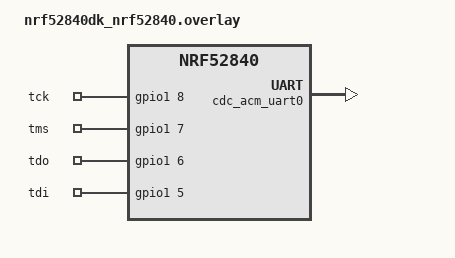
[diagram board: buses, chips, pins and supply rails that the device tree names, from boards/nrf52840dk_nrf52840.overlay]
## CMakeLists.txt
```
cmake_minimum_required(VERSION 3.20.0)

find_package(Zephyr REQUIRED HINTS $ENV{ZEPHYR_BASE})
project(zephyr_rjtag)

add_subdirectory("${CMAKE_CURRENT_LIST_DIR}/../../librjcore" librjcore)

target_sources(app
    PRIVATE
    src/led.cpp
    src/led.h
    src/main.cpp
    src/platform_impl.c
    src/platform_impl.h
    src/platform_stm32.h
    src/platform_stm32_gpio.cpp
    src/platform_stm32_timer_spi.cpp
    src/serial_queue.c
    src/serial_queue.h
)

target_link_libraries(app
    PUBLIC
    librjcore
)

#target_compile_definitions(librjcore
#    PUBLIC
#    RJCORE_UART_IDLE_TIMEOUT=10000
#)
```

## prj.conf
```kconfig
# TODO: Add configuration options
CONFIG_USB_DEVICE_STACK=y
CONFIG_USB_DEVICE_PRODUCT="Zephyr CDC ACM sample"
CONFIG_USB_DEVICE_PID=0x0001

CONFIG_EVENTS=y

CONFIG_MAIN_STACK_SIZE=8192

CONFIG_LOG=y
CONFIG_RTT_CONSOLE=y
CONFIG_USE_SEGGER_RTT=y
CONFIG_LOG_BACKEND_RTT=y
CONFIG_LOG_BACKEND_UART=n

CONFIG_LOG_BUFFER_SIZE=16384
CONFIG_SEGGER_RTT_BUFFER_SIZE_UP=16384

# Use C++20 - easier than tons of macros when dealing with devicetree
CONFIG_CPP=y
CONFIG_STD_CPP20=y
CONFIG_CPP_MAIN=y

# Always useful to assert when developing
CONFIG_ASSERT=y

CONFIG_PWM=y
# Use SPI with the poll/async mode, so that it can be performed in the
# background.
CONFIG_SPI=y
CONFIG_SPI_SLAVE=y
CONFIG_SPI_ASYNC=y
CONFIG_POLL=y
```

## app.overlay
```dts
&zephyr_udc0 {
    cdc_acm_uart0 {
        compatible = "zephyr,cdc-acm-uart";
    };
};
```

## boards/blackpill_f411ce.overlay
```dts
/*
/ {
    rjtag {
        compatible = "gpio-keys";

        tck: tck  {
            gpios = <&gpiob 13 GPIO_ACTIVE_HIGH>;
        };

        tms: tms  {
            gpios = <&gpiob 4 GPIO_ACTIVE_HIGH>;
        };

        tdo: tdo  {
            gpios = <&gpiob 15 (GPIO_ACTIVE_HIGH | GPIO_PULL_DOWN)>;
        };

        tdi: tdi  {
            gpios = <&gpiob 14 GPIO_ACTIVE_HIGH>;
        };
    };
};
 */

&zephyr_udc0 {
    cdc_acm_uart0 {
        compatible = "zephyr,cdc-acm-uart";
    };
};

// Used for the hardware driven JTAG signals

&timers1 {
    status = "okay";

    st,countermode = <0>; // Counter mode up
    st,prescaler = <11>; // Decent speed Jtag (~2MHz)
    // st,prescaler = <47999>; // Very low speed, useful for debugging

    pwm1: pwm {
        status = "okay";
        pinctrl-0 = <&tim1_ch1n_pb13 &tim1_ch2n_pb0 &tim1_ch3n_pb1>;
        pinctrl-names = "default";
    };
};

/ {
    rjtaghw {
        compatible = "pwm-leds";
        status = "okay";

        // If using an complementary channel (e.g. ch1n, ch2n, ch3n, ch4n...)
        // then you must add the STM32_PWM_COMPLEMENTARY flag
        // SCK set up for CPOL=0, CPHA=1 (i.e. clock idle low, change on rising
        // edge, sample on falling edge)
        rjtagsck: rjtagsck {
            pwms = <&pwm1 2 1000 (PWM_POLARITY_INVERTED | STM32_PWM_COMPLEMENTARY)>,
                   <&pwm1 3 1000 (PWM_POLARITY_INVERTED | STM32_PWM_COMPLEMENTARY)>;
        };

        // TCK set up for CPOL=1, CPHA=1 (i.e. clock idle high, change on falling
        // edge, sample on rising edge)
        rjtagtck: rjtagtck {
            pwms = <&pwm1 1 1000 (PWM_POLARITY_NORMAL | STM32_PWM_COMPLEMENTARY)>;
        };
    };

    rjtagss {
        compatible = "gpio-keys";

        rjtagnss: rjtagnss  {
            gpios = <&gpioa 3 GPIO_ACTIVE_LOW>,
                    <&gpiob 8 GPIO_ACTIVE_LOW>;
        };
    };

    aliases {
        rjtagtimer = &timers1;
        rjtagtms = &spi1;
        rjtagtdio = &spi2;
    };
};

&spi1 {
    pinctrl-0 = <&spi1_sck_pa5 &spi1_nss_pa4
    &spi1_miso_pb4 &spi1_mosi_pa7>;
    pinctrl-names = "default";
    status = "okay";
    dmas = <&dma2 5 3 (STM32_DMA_PERIPH_TX | STM32_DMA_PRIORITY_HIGH) 0x03>,
           <&dma2 2 3 (STM32_DMA_PERIPH_RX | STM32_DMA_PRIORITY_HIGH) 0x03>;
    dma-names = "tx", "rx";
};

&spi2 {
    pinctrl-0 = <&spi2_sck_pb10 &spi2_nss_pb9
    &spi2_miso_pb14 &spi2_mosi_pb15>;
    pinctrl-names = "default";
    status = "okay";
    dmas = <&dma1 4 0 (STM32_DMA_PERIPH_TX | STM32_DMA_PRIORITY_HIGH) 0x03>,
           <&dma1 3 0 (STM32_DMA_PERIPH_RX | STM32_DMA_PRIORITY_HIGH) 0x03>;
    dma-names = "tx", "rx";
};

&spi2_mosi_pb15 {
    // OpenOCD works better if unconnected inputs read all 1s, instead of 0s
    /delete-property/ bias-pull-down;
    bias-pull-up;
};

// SPI2 uses DMA1
&dma1 {
    status = "okay";
};

// SPI1 uses DMA2
&dma2 {
    status = "okay";
};
```

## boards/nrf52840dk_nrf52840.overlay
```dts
/ {
    rjtag {
        compatible = "gpio-keys";

        tck: tck  {
            gpios = <&gpio1 8 GPIO_ACTIVE_HIGH>;
        };

        tms: tms  {
            gpios = <&gpio1 7 GPIO_ACTIVE_HIGH>;
        };

        tdo: tdo  {
            gpios = <&gpio1 6 (GPIO_ACTIVE_HIGH | GPIO_PULL_DOWN)>;
        };

        tdi: tdi  {
            gpios = <&gpio1 5 GPIO_ACTIVE_HIGH>;
        };
    };
};

&zephyr_udc0 {
    cdc_acm_uart0 {
        compatible = "zephyr,cdc-acm-uart";
    };
};
```

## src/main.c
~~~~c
/*
    Simple GPIO based bit bashing for RJTag, based on USB CDC
*/
/*
 * Was originally USB CDC ACM sample:
 *
 * Copyright (c) 2019 Intel Corporation
 *
 * SPDX-License-Identifier: Apache-2.0
 */

#include <stdio.h>
#include <string.h>
#include <zephyr/device.h>
#include <zephyr/drivers/gpio.h>
#include <zephyr/drivers/pwm.h>
#include <zephyr/drivers/uart.h>
#include <zephyr/drivers/uart/cdc_acm.h>
#include <zephyr/kernel.h>
#include <zephyr/sys/ring_buffer.h>

#include <zephyr/logging/log.h>
#include <zephyr/usb/usb_device.h>
#include <zephyr/usb/usbd.h>

#include "platform_impl.h"
#include "serial_queue.h"

#include <stm32_ll_tim.h>

#include <rjcore/rjcore.h>

LOG_MODULE_REGISTER(rjtag, LOG_LEVEL_INF);

#if 0

struct serial_queue usb_rx; //!< Received over USB (to us)
struct serial_queue usb_tx; //!< Send over USB (to host)

static void on_uart_interrupt(const struct device *dev, void *user_data)
{
    ARG_UNUSED(user_data);

    while (uart_irq_update(dev) && uart_irq_is_pending(dev))
    {
        if (uart_irq_rx_ready(dev))
        {
            uint8_t buffer[64];
            int length;

            length = uart_fifo_read(dev, buffer, sizeof(buffer));
            if (length < 0)
            {
                LOG_ERR("Error reading USB UART: %d", length);
            }
            else if (length > 0)
            {
                int result = serial_queue_write(&usb_rx, buffer, length);

                if (result != length)
                {
                    LOG_ERR("Failed to write to internal serial queue - got %d, expected %d", result, length);
                }

                // LOG_INF("Rx %d [%02x %02x %02x %02x %02x %02x]", length, buffer[0], buffer[1], buffer[2], buffer[3],
                //         buffer[4], buffer[5]);
            }
        }

        if (uart_irq_tx_ready(dev))
        {
            uint8_t buffer[64];
            int length;

            length = serial_queue_read(&usb_tx, buffer, sizeof(buffer), K_NO_WAIT);

            if (length > 0)
            {
                int result = uart_fifo_fill(dev, buffer, length);
                if (result != length)
                {
                    LOG_ERR("Failed to write to serial port - got %d, expected %d", result, length);
                }
                // LOG_INF("Tx %d [%02x %02x %02x %02x %02x %02x]", length, buffer[0], buffer[1], buffer[2], buffer[3],
                //         buffer[4], buffer[5]);
            }
            else
            {
                uart_irq_tx_disable(dev);
            }
        }
    }
}

void PlatformImpl_TransmitData(void *privateData, const void *buffer, size_t length)
{
    const struct device *dev;
    dev = DEVICE_DT_GET_ONE(zephyr_cdc_acm_uart);

    serial_queue_write(&usb_tx, buffer, length);
    uart_irq_tx_enable(dev);
}

/* The devicetree node identifier for the "led0" alias. */
#define LED0_NODE DT_ALIAS(led0)

#define SW0_NODE DT_ALIAS(sw0)

/*
 * A build error on this line means your board is unsupported.
 * See the sample documentation for information on how to fix this.
 */
static const struct gpio_dt_spec led = GPIO_DT_SPEC_GET(LED0_NODE, gpios);
static const struct gpio_dt_spec sw = GPIO_DT_SPEC_GET(SW0_NODE, gpios);

static struct RJCoreHandle rjcoreHandle;

int main(void)
{
    const struct device *dev;
    struct RJCorePlatform *rjcorePlatform;
    int ret;

    serial_queue_init(&usb_rx);
    serial_queue_init(&usb_tx);

    gpio_pin_configure_dt(&led, GPIO_OUTPUT_ACTIVE);
    gpio_pin_configure_dt(&sw, GPIO_INPUT);

    gpio_pin_set_dt(&led, 0);

    rjcorePlatform = PlatformImpl_Init();

    dev = DEVICE_DT_GET_ONE(zephyr_cdc_acm_uart);
    if (!device_is_ready(dev))
    {
        LOG_ERR("CDC ACM device not ready");
        return 0;
    }

    ret = usb_enable(NULL);

    if (ret != 0)
    {
        LOG_ERR("Failed to enable USB");
        return 0;
    }

    uart_irq_callback_set(dev, on_uart_interrupt);

    /* Enable rx interrupts */
    uart_irq_rx_enable(dev);

    RJCore_Init(&rjcoreHandle, rjcorePlatform, NULL);

    while (true)
    {
        uint8_t buffer[64];

        int bytesRead = serial_queue_read(&usb_rx, buffer, sizeof(buffer), K_MSEC(100));

        RJCore_NotifyDataReceived(&rjcoreHandle, buffer, bytesRead);

        gpio_pin_toggle_dt(&led);
    }

    return 0;
}
#endif

#if 0
void testDMA(void)
{
    // So this is a bit tricky, because I'm going to use direct hardware register
    // access, and this may conflict with Zephyr drivers.  This is also not as
    // portable between the different STM32 platforms, which is a bit of a pain.

    // Need to use TIM1, because that's the only source of timers that can trigger
    // DMA2.  We need to use DMA2, because DMA1 does not have access to the GPIO
    // registers.

    TIM_TypeDef *timerBase = TIM1;

    const uint16_t cr1 = timerBase->CR1;

    if ((cr1 & TIM_CR1_CEN) != 0)
    {
        LOG_ERR("Something else is already using the timer!");
        return;
    }

    LOG_INF("Timer free for DMA/GPIO");

    {
        uint32_t currentApb = RCC->APB2ENR;
        LOG_INF("Current APB: 0x%08x", currentApb);
        currentApb |= RCC_APB2ENR_TIM1EN;
        RCC->APB2ENR = currentApb;
        LOG_INF("    New APB: 0x%08x", currentApb);
    }
    {
        // Must use DMA2, because DMA1 is not connected to the GPIO bases
        uint32_t currentAhb = RCC->AHB1ENR;
        LOG_INF("Current AHB: 0x%08x", currentAhb);
        currentAhb |= RCC_AHB1ENR_DMA2EN;
        RCC->AHB1ENR = currentAhb;
        LOG_INF("    New AHB: 0x%08x", currentAhb);

        LOG_INF("  Stream 0x%08x", DMA2_Stream0->CR);
        LOG_INF("  Stream 0x%08x", DMA2_Stream1->CR);
        LOG_INF("  Stream 0x%08x", DMA2_Stream2->CR);
        LOG_INF("  Stream 0x%08x", DMA2_Stream3->CR);
        LOG_INF("  Stream 0x%08x", DMA2_Stream4->CR);
        LOG_INF("  Stream 0x%08x", DMA2_Stream5->CR);
        LOG_INF("  Stream 0x%08x", DMA2_Stream6->CR);
        LOG_INF("  Stream 0x%08x", DMA2_Stream7->CR);
    }

    {
        // TIM1_UP is DMA 2, stream 5, channel 6

        // TODO: Verify stream 5 unused
        DMA2_Stream5->CR = 0;

        //        static const uint32_t clearValue = (0x10000 << led.pin);
        // LED is active low, so setting the pin turns the LED off
        static const uint32_t clearValue = (0x1 << led.pin);

        DMA2_Stream5->NDTR = 4; // Can be used to make sure that the GPIO is cleared
        DMA2_Stream5->PAR = (uint32_t)(&(GPIOC->BSRR));
        DMA2_Stream5->M0AR = (uint32_t)(&clearValue);
        DMA2_Stream5->FCR = 0; // Direct mode

        DMA2->HIFCR = 0x0F400;

#if 0
        DMA2_Stream5->CR = (6 << DMA_SxCR_CHSEL_Pos) | (2 << DMA_SxCR_MSIZE_Pos) | (2 << DMA_SxCR_PSIZE_Pos) |
                           DMA_SxCR_CIRC | (1 << DMA_SxCR_DIR_Pos) | DMA_SxCR_EN;
#else
        DMA2_Stream5->CR = (6 << DMA_SxCR_CHSEL_Pos) | (2 << DMA_SxCR_MSIZE_Pos) | (2 << DMA_SxCR_PSIZE_Pos) |
                           (1 << DMA_SxCR_DIR_Pos) | DMA_SxCR_EN;
#endif
        LOG_INF("Reconf stream 5: 0x%08x (from 0x%08x to 0x%08x)", DMA2_Stream5->CR, DMA2_Stream5->M0AR,
                DMA2_Stream5->PAR);
    }
    {
        // TIM1_CH1 is DMA 2, stream 1/3 channel 6, or stream 6, channel 0
        DMA2_Stream1->CR = 0;

        static const uint32_t setValue = (0x10000 << led.pin);

        DMA2_Stream1->NDTR = 4;
        DMA2_Stream1->PAR = (uint32_t)(&(GPIOC->BSRR));
        DMA2_Stream1->M0AR = (uint32_t)(&setValue);
        DMA2_Stream1->FCR = 0; // Direct mode

        DMA2->LIFCR = 0x0F400;

        DMA2_Stream1->CR = (6 << DMA_SxCR_CHSEL_Pos) | (2 << DMA_SxCR_MSIZE_Pos) | (2 << DMA_SxCR_PSIZE_Pos) |
                           (1 << DMA_SxCR_DIR_Pos) | DMA_SxCR_EN;
        LOG_INF("Reconf stream 1: 0x%08x (from 0x%08x to 0x%08x)", DMA2_Stream1->CR, DMA2_Stream1->M0AR,
                DMA2_Stream1->PAR);
    }

    static uint32_t gpioAIDR = 0;
    {
        // TIM1_CH2 is DMA 2, stream 2 channel 6, or stream 6, channel 0 (shared with TIM1_CH{1,2,3})
        DMA2_Stream2->CR = 0;

        DMA2_Stream2->NDTR = 4;
        DMA2_Stream2->PAR = (uint32_t)(&(GPIOA->IDR));
        DMA2_Stream2->M0AR = (uint32_t)(&gpioAIDR);
        DMA2_Stream2->FCR = 0; // Direct mode

        DMA2->LIFCR = 0x0F400;

        DMA2_Stream2->CR = (6 << DMA_SxCR_CHSEL_Pos) | (2 << DMA_SxCR_MSIZE_Pos) | (2 << DMA_SxCR_PSIZE_Pos) |
                           DMA_SxCR_CIRC | (0 << DMA_SxCR_DIR_Pos) | DMA_SxCR_EN;
        LOG_INF("Reconf stream 2: 0x%08x (from 0x%08x to 0x%08x)", DMA2_Stream2->CR, DMA2_Stream2->M0AR,
                DMA2_Stream2->PAR);
    }

    // Set the timer to be pretty much default up-counting with its clock from the system PLL
    timerBase->CR1 = TIM_CR1_URS; // Set this so that updating registers via EGR will not send an update event
    timerBase->CR2 = 0;
    timerBase->SMCR = 0;

    timerBase->DIER = TIM_DIER_UDE | TIM_DIER_CC1DE | TIM_DIER_CC2DE; // TODO: Set up DMA requests for UDE, CC1DE, CC2DE

    timerBase->PSC = 47999; // 96MHz system clock / 48kHz = 2000 ticks to get a 1s period
    timerBase->ARR = 1999;  // 1s period
    timerBase->CNT = 0;

    timerBase->CCER = 0;   // No output compare
    timerBase->CCR1 = 999; // 50% of the way through
    timerBase->CCR2 = 1900;

    timerBase->EGR =
        TIM_EGR_UG; // Update registers now, otherwise update events will fire to the DMA immediately upon enabling
    LOG_INF("Status: 0x%08x", timerBase->SR);

    timerBase->SR = 0; // Clear all status flags

    timerBase->CR1 = TIM_CR1_CEN | TIM_CR1_URS; // Enable timer (TODO: Set URS)
    LOG_INF("Start: %d %d", DMA2_Stream5->NDTR, DMA2_Stream1->NDTR);

    while (true)
    {
        const uint32_t sr = timerBase->SR;

        if ((sr & TIM_SR_UIF) != 0)
        {
            timerBase->SR = 0;

            LOG_INF("Overflow 0x%08x: %d %d %d", sr, DMA2_Stream5->NDTR, DMA2_Stream1->NDTR, DMA2_Stream2->NDTR);

            // Key is active low, so invert
            LOG_INF("User button: %d", (gpioAIDR & 1) == 0);
        }

        if ((sr & TIM_SR_CC1IF) != 0)
        {
            timerBase->SR = 0;
            LOG_INF("CC1IF 0x%08x: %d %d %d", sr, DMA2_Stream5->NDTR, DMA2_Stream1->NDTR, DMA2_Stream2->NDTR);
        }

        k_msleep(1);
    }

    timerBase->CR1 = 0;
}

#endif

// #define CLOCKS_FULL_SPEED
// Want a 1MHz clock, but do some shenanigans with phases, so want 4 ticks
// The system clock is 96MHz, so 96/4 = 24, so the prescaler is 24-1=23
#ifdef CLOCKS_FULL_SPEED
static const unsigned TimerPrescaler = 23;
static const unsigned TimerPeriod = 3;
#else
// Debugging at 1Hz
static const unsigned TimerPrescaler = 47999;
static const unsigned TimerPeriod = 1999;
#endif

// Do it via direct register access right now, as Zephyr's timer API doesn't expose trigger
// functionality.
// I was going to say that Zephyr doesn't support SPI slave functionality, but it does seem
// like it's been added since I last looked?
//   We can probably use Zephyr to configure and power up the timers, and then we get in there
// with direct register access and apply our modifications to enable triggers.  That way, we
// claim the resources the Zephyr way, and only write the custom code that hooks up the triggers
// and enables things the way we need.

static void EnableTimersOnAPB()
{
    const uint32_t apb1Mask =
        RCC_APB1ENR_TIM2EN | RCC_APB1ENR_TIM3EN | RCC_APB1ENR_TIM4EN | RCC_APB1ENR_TIM5EN | RCC_APB1ENR_SPI2EN;
    const uint32_t apb2Mask = RCC_APB2ENR_TIM1EN | RCC_APB2ENR_SPI1EN;

    uint32_t apb1 = RCC->APB1ENR;
    LOG_INF("Initial APB1ENR: 0x%08x", apb1);
    if ((apb1 & apb1Mask) != 0)
    {
        LOG_WRN("One of timers 2-5 or spi 2 seem to already be in use by Zephyr?");
    }
    apb1 |= apb1Mask;
    // RCC->APB1ENR = apb1;

    uint32_t apb2 = RCC->APB2ENR;
    LOG_INF("Initial APB2ENR: 0x%08x", apb2);
    if ((apb2 & apb2Mask) != 0)
    {
        LOG_WRN("Timer 1 or spi 1 already seems to be in use by Zephyr?");
    }
    apb2 |= apb2Mask;
    // RCC->APB2ENR = apb2;

    // LOG_INF("Timers 1-5, spi 1-2 peripherals enabled");
}

static void ConfigurePulseTimer(TIM_TypeDef *timerBase, unsigned inputTrigger, unsigned outputTriggerChannel,
                                bool enableBothChannels)
{
    const unsigned CCMR_OCM_PWMMode2 = 7;
    const unsigned TimerHalfPeriod = (TimerPeriod + 1) / 2 - 1;

    timerBase->CR1 = 0; // Disable timer
    timerBase->CR2 = outputTriggerChannel << TIM_CR2_MMS_Pos;
    timerBase->SMCR = 0; // Some bits in SMCR say they should only be changed when SMS == 0
    timerBase->SMCR =
        (inputTrigger
         << TIM_SMCR_TS_Pos); // 5 or 6 << TIM_SMCR_SMS_Pos; // TODO: Change this for gated or trigger mode as needs be
    timerBase->DIER = 0;
    timerBase->CCMR1 = CCMR_OCM_PWMMode2 << TIM_CCMR1_OC1M_Pos; // Set PWM mode 2
    timerBase->CCMR2 = enableBothChannels ? (CCMR_OCM_PWMMode2 << TIM_CCMR2_OC4M_Pos) : 0;
    timerBase->CCER = TIM_CCER_CC1E | (enableBothChannels ? TIM_CCER_CC4E : 0);

    timerBase->CNT = 0;
    timerBase->PSC = TimerPrescaler;
    timerBase->ARR = TimerPeriod;

    timerBase->CCR1 = TimerHalfPeriod;
    timerBase->CCR4 = TimerHalfPeriod;

    timerBase->SR = 0;
    timerBase->EGR = 0;
}

const struct pwm_dt_spec jtaghw_pwms[] = {
    PWM_DT_SPEC_GET_BY_IDX(DT_NODELABEL(rjtagpwm), 0), PWM_DT_SPEC_GET_BY_IDX(DT_NODELABEL(rjtagpwm), 1),
    PWM_DT_SPEC_GET_BY_IDX(DT_NODELABEL(rjtagpwm), 2), PWM_DT_SPEC_GET_BY_IDX(DT_NODELABEL(rjtagpwm), 3),
    PWM_DT_SPEC_GET_BY_IDX(DT_NODELABEL(rjtagpwm), 4)};

int main(void)
{
    // usb_enable(NULL);

    // This bit tests the timers

    if (!device_is_ready(jtaghw_pwms[0].dev))
    {
        LOG_ERR("PWM0 device not ready");
        return 0;
    }
    if (!device_is_ready(jtaghw_pwms[1].dev))
    {
        LOG_ERR("PWM1 device not ready");
        return 0;
    }
    if (!device_is_ready(jtaghw_pwms[2].dev))
    {
        LOG_ERR("PWM2 device not ready");
        return 0;
    }

    /*
    ```
              +-> TIMER5 --> TIMER3 -> SCK
              |   ITR0       ITR2
    TIMER2 ---+
              |
              +-> TIMER1 --> TIMER4 -> TCK
                  ITR1       ITR0
    ```
    */

    LL_TIM_SetTriggerInput(TIM3, LL_TIM_TS_ITR2);
    LL_TIM_SetSlaveMode(TIM3, LL_TIM_SLAVEMODE_GATED);
    LL_TIM_SetTriggerInput(TIM4, LL_TIM_TS_ITR0);
    LL_TIM_SetSlaveMode(TIM4, LL_TIM_SLAVEMODE_GATED);

    const uint32_t ExternalClockMode1 = TIM_SMCR_SMS_2 | TIM_SMCR_SMS_1 | TIM_SMCR_SMS_0;

    LL_TIM_SetTriggerInput(TIM1, LL_TIM_TS_ITR1);
    LL_TIM_SetSlaveMode(TIM1, ExternalClockMode1);
    LL_TIM_SetTriggerInput(TIM5, LL_TIM_TS_ITR0);
    LL_TIM_SetSlaveMode(TIM5, ExternalClockMode1);

    LL_TIM_SetTriggerOutput(TIM5, LL_TIM_TRGO_OC1REF);
    LL_TIM_SetTriggerOutput(TIM1, LL_TIM_TRGO_OC1REF);
    LL_TIM_SetTriggerOutput(TIM2, LL_TIM_TRGO_UPDATE);

    LOG_INF("SMCR: %08x %08x", TIM3->SMCR, TIM4->SMCR);
    LOG_INF(" CR2: %08x %08x", TIM3->CR2, TIM4->CR2);

    LL_TIM_SetOnePulseMode(TIM1, LL_TIM_ONEPULSEMODE_SINGLE);
    LL_TIM_SetOnePulseMode(TIM5, LL_TIM_ONEPULSEMODE_SINGLE);

    for (int i = 0; i < 5; ++i)
    {
        // TODO: Swap to pwm_set_cycles to use clock cycles, not time
        int result = pwm_set_dt(&jtaghw_pwms[i], 1000000000, 500000000);

        k_msleep(100);

        LOG_INF("PWM%d: Result %d", i, result);
    }

    LOG_INF("SMCR: %08x %08x", TIM3->SMCR, TIM4->SMCR);
    LOG_INF(" CR2: %08x %08x", TIM3->CR2, TIM4->CR2);

    /*
        ConfigurePulseTimer(TIM3, 0, 0, true);
        ConfigurePulseTimer(TIM4, 0, 0, false);

        TIM3->CR1 = TIM_CR1_CEN;
        TIM4->CR1 = TIM_CR1_CEN;
    */

    while (true)
    {
        k_msleep(100);

        LOG_INF("PWM Pins on Port A: %08x B: %08x", GPIOA->IDR & (1 << 6), GPIOB->IDR & ((1 << 6) | (1 << 1)));
    }

    return 0;
}
~~~~

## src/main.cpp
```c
/*
    Simple GPIO based bit bashing for RJTag, based on USB CDC
*/
/*
 * Was originally USB CDC ACM sample:
 *
 * Copyright (c) 2019 Intel Corporation
 *
 * SPDX-License-Identifier: Apache-2.0
 */

#include <zephyr/device.h>
#include <zephyr/drivers/gpio.h>
#include <zephyr/drivers/uart.h>
#include <zephyr/drivers/uart/cdc_acm.h>
#include <zephyr/kernel.h>

#include <zephyr/logging/log.h>
#include <zephyr/usb/usb_device.h>
#include <zephyr/usb/usbd.h>

#include "led.h"
#include "platform_impl.h"
#include "serial_queue.h"

#include <rjcore/rjcore.h>

LOG_MODULE_REGISTER(rjtag, LOG_LEVEL_INF);

static constexpr int UartPollsBeforeIdle = 10;

struct serial_queue usb_rx; //!< Received over USB (to us)
struct serial_queue usb_tx; //!< Send over USB (to host)

static void on_uart_interrupt(const struct device *dev, void *user_data)
{
    ARG_UNUSED(user_data);

    while (uart_irq_update(dev) && uart_irq_is_pending(dev))
    {
        if (uart_irq_rx_ready(dev))
        {
            uint8_t buffer[64];
            int length;

            length = uart_fifo_read(dev, buffer, sizeof(buffer));
            if (length < 0)
            {
                LOG_ERR("Error reading USB UART: %d", length);
            }
            else if (length > 0)
            {
                int result = serial_queue_write(&usb_rx, buffer, length);

                if (result != length)
                {
                    LOG_ERR("Failed to write to internal serial queue - got %d, expected %d", result, length);
                }

                // LOG_INF("Rx %d [%02x %02x %02x %02x %02x %02x]", length, buffer[0], buffer[1], buffer[2], buffer[3],
                //         buffer[4], buffer[5]);
            }
        }

        if (uart_irq_tx_ready(dev))
        {
            uint8_t buffer[64];
            int length;

            length = serial_queue_read(&usb_tx, buffer, sizeof(buffer), K_NO_WAIT);

            if (length > 0)
            {
                int result = uart_fifo_fill(dev, buffer, length);
                if (result != length)
                {
                    LOG_ERR("Failed to write to serial port - got %d, expected %d", result, length);
                }
                // LOG_INF("Tx %d [%02x %02x %02x %02x %02x %02x]", length, buffer[0], buffer[1], buffer[2], buffer[3],
                //         buffer[4], buffer[5]);
            }
            else
            {
                uart_irq_tx_disable(dev);
            }
        }
    }
}

void PlatformImpl_TransmitData(void *privateData, const void *buffer, size_t length)
{
    const struct device *dev;
    dev = DEVICE_DT_GET_ONE(zephyr_cdc_acm_uart);

    serial_queue_write(&usb_tx, buffer, length);
    uart_irq_tx_enable(dev);
}

static struct RJCoreHandle rjcoreHandle;

int main(void)
{
    const struct device *dev;
    struct RJCorePlatform *rjcorePlatform;
    int ret;

    serial_queue_init(&usb_rx);
    serial_queue_init(&usb_tx);

    led_init();

    rjcorePlatform = PlatformImpl_Init();

    dev = DEVICE_DT_GET_ONE(zephyr_cdc_acm_uart);
    if (!device_is_ready(dev))
    {
        led_update_error(LED_ERROR_USB_FAULT);
        LOG_ERR("CDC ACM device not ready");
        return 0;
    }

    ret = usb_enable(NULL);

    if (ret != 0)
    {
        led_update_error(LED_ERROR_USB_FAULT);
        LOG_ERR("Failed to enable USB");
        return 0;
    }

    uart_irq_callback_set(dev, on_uart_interrupt);

    /* Enable rx interrupts */
    uart_irq_rx_enable(dev);

    RJCore_Init(&rjcoreHandle, rjcorePlatform, NULL);

    int pollsSinceLastData = 0;

    while (true)
    {
        uint8_t buffer[64];

        int bytesRead = serial_queue_read(&usb_rx, buffer, sizeof(buffer), K_MSEC(100));

        RJCore_NotifyDataReceived(&rjcoreHandle, buffer, bytesRead);

        if (bytesRead == 0)
        {
            if (pollsSinceLastData >= UartPollsBeforeIdle)
            {
                led_update_status(LED_NORMAL_IDLE);
            }
            else
            {
                ++pollsSinceLastData;
            }
        }
        else
        {
            led_update_status(LED_NORMAL_ACTIVE);
            pollsSinceLastData = 0;
        }
    }

    return 0;
}
```

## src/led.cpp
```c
#include <zephyr/drivers/gpio.h>
#include <zephyr/kernel.h>
#include <zephyr/logging/log.h>
LOG_MODULE_DECLARE(rjtag, LOG_LEVEL_INF);

#include <cstdint>

#include "led.h"

#define TARGET_LED_NODE DT_ALIAS(led0)

#if DT_NODE_EXISTS(TARGET_LED_NODE) == 0

#pragma message("Missing LED for board.  LED support disabled")

extern "C"
{
void led_init(void)
{
}

void led_update_status(enum led_normal_status status)
{
    (void)status;
}

void led_update_error(enum led_error_status status)
{
    (void)status;
}
}

#else

extern "C"
{
static void on_led_timer_callback(k_work *work);
}

namespace
{

const struct gpio_dt_spec led = GPIO_DT_SPEC_GET(TARGET_LED_NODE, gpios);

constexpr auto led_work_period = K_MSEC(200);

K_WORK_DELAYABLE_DEFINE(led_delayable_work, on_led_timer_callback);

namespace State
{
atomic_t NormalStatus = ATOMIC_INIT(0);
atomic_t ErrorStatus = ATOMIC_INIT(0);
uint32_t Current = 0;
} // namespace State

} // namespace

extern "C"
{
static void on_led_timer_callback(k_work *work)
{
    k_work_schedule(&led_delayable_work, led_work_period);

    if (State::Current == 0)
    {
        State::Current = atomic_get(&State::ErrorStatus);
        if (State::Current == 0)
        {
            State::Current = atomic_get(&State::NormalStatus);
        }
    }

    const auto ledValue = State::Current & 1;
    State::Current >>= 1;

    gpio_pin_set_dt(&led, ledValue);
}

void led_init(void)
{
    State::NormalStatus = LED_NORMAL_IDLE;

    k_work_schedule(&led_delayable_work, led_work_period);

    gpio_pin_configure_dt(&led, GPIO_OUTPUT_ACTIVE);

    gpio_pin_set_dt(&led, 0);
}

void led_update_status(enum led_normal_status status)
{
    atomic_set(&State::NormalStatus, status);
}

void led_update_error(enum led_error_status status)
{
    atomic_set(&State::ErrorStatus, status);
}
}

#endif
```

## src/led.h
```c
/*!
    \file led.h
    \brief Used to control the feedback LED
    \note Callable from C, but internally C++
*/

#pragma once

#ifdef __cplusplus
extern "C"
{
#endif

void led_init(void);

// These enums are the blink pattern
enum led_normal_status
{
    LED_NORMAL_IDLE = 0x18000, //!< Short time on, long time off
    LED_NORMAL_ACTIVE = 0x3E0, //!< Medium time on, medium time off
};

void led_update_status(enum led_normal_status status);

enum led_error_status
{
    LED_ERROR_NONE = 0,                 //!< No error - no blink
    LED_ERROR_USB_FAULT = 0x14000,      //!< Two fast blinks
    LED_ERROR_HARDWARE_FAULT = 0x15000, //!< Three fast blinks
};

void led_update_error(enum led_error_status status);

#ifdef __cplusplus
}
#endif
```

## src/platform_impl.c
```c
#include "platform_impl.h"
#include "platform_stm32.h"

#include <zephyr/drivers/gpio.h>
#include <zephyr/kernel.h>

#include <zephyr/logging/log.h>
LOG_MODULE_DECLARE(rjtag, LOG_LEVEL_INF);

// Some platform implementations don't rely on gpio, and so this doesn't exist
#ifndef RJTAG_NO_DEFAULT_PLATFORM_IMPL
static const struct gpio_dt_spec rjTck = GPIO_DT_SPEC_GET(DT_NODELABEL(tck), gpios);
static const struct gpio_dt_spec rjTms = GPIO_DT_SPEC_GET(DT_NODELABEL(tms), gpios);
static const struct gpio_dt_spec rjTdo = GPIO_DT_SPEC_GET(DT_NODELABEL(tdo), gpios);
static const struct gpio_dt_spec rjTdi = GPIO_DT_SPEC_GET(DT_NODELABEL(tdi), gpios);
#endif

static struct RJCorePlatform rjcorePlatform = {
    .tapShiftMode = RJCoreTapShiftMode_GPIO,
    .currentUptime = PlatformImpl_CurrentUptime,
    .transmitData = PlatformImpl_TransmitData,
    .setSerialMode = PlatformImpl_SetSerialMode,
    .setPortMode = PlatformImpl_SetPortMode,
    .setFeature = PlatformImpl_SetFeature,
    .readVoltages = PlatformImpl_ReadVoltages,
    .newTapShift = PlatformImpl_NewTapShift,
    .tapShiftComplete = PlatformImpl_TapShiftComplete,
    .tapShiftGPIO = PlatformImpl_TapShiftGPIOClock,
    .tapShiftPacket = PlatformImpl_TapShiftPacket,
    .tapShiftCustom = NULL,
};

// Platforms that implement their own PlatformImpl_TapShiftPacket() must also implement PlatformImpl_HasShiftPacket()
// but have it return true.  The weak linkage will remove these stub versions.
__attribute__((weak)) bool PlatformImpl_HasShiftPacket()
{
    return false;
}

__attribute__((weak)) int PlatformImpl_TapShiftPacket(void *, const uint8_t *buffer, int bitsToShift)
{
    LOG_ERR("Tap shift not implemented for this platform!");

    return -1;
}

struct RJCorePlatform *PlatformImpl_Init()
{
    if (PlatformImpl_HasShiftPacket())
    {
        LOG_INF("Using tap shift packet mode");
        rjcorePlatform.tapShiftMode = RJCoreTapShiftMode_Packet;
    }
    else
    {
        LOG_INF("Using tap shift gpio mode");
    }

    return &rjcorePlatform;
}

uint32_t PlatformImpl_CurrentUptime(void *)
{
    return k_uptime_get();
}

bool PlatformImpl_SetSerialMode(void *, enum RJCoreSerialMode mode)
{
    // USB interface accepts all bauds
    return true;
}

__attribute__((weak)) bool PlatformImpl_SetPortMode(void *, enum RJCorePortMode mode)
{
    // Different platform implementations might have different ways to enable gpio pins
    switch (mode)
    {
    case RJCorePortMode_HighImpedance:
        LOG_INF("Jtag port in high impedance mode");
#ifndef RJTAG_NO_DEFAULT_PLATFORM_IMPL
        gpio_pin_configure_dt(&rjTck, GPIO_INPUT);
        gpio_pin_configure_dt(&rjTms, GPIO_INPUT);
        gpio_pin_configure_dt(&rjTdi, GPIO_INPUT);
#endif
        break;
    case RJCorePortMode_PushPull:
    case RJCorePortMode_OpenDrain:
        LOG_INF("Jtag port in output mode");
#ifndef RJTAG_NO_DEFAULT_PLATFORM_IMPL
        gpio_pin_configure_dt(&rjTck, GPIO_OUTPUT_LOW);
        gpio_pin_configure_dt(&rjTms, GPIO_OUTPUT_LOW);
        gpio_pin_configure_dt(&rjTdi, GPIO_OUTPUT_LOW);
        gpio_pin_configure_dt(&rjTdo, GPIO_INPUT);
#endif
        break;
    default:
        LOG_ERR("Unknown port mode");
        return false;
    }

    return true;
}

bool PlatformImpl_SetFeature(void *, enum RJCoreFeature feature, int action)
{
    // No real feature supported at this prototype stage
    return true;
}

void PlatformImpl_ReadVoltages(void *, uint16_t *values)
{
    for (int i = 0; i < 4; ++i)
    {
        values[i] = 0;
    }
}

// Weak linkage for new tap and shift just in case a platform implementation requires
// platform specific initialisation and cleanup.
__attribute__((weak)) void PlatformImpl_NewTapShift(void *privateData, int totalBitsToShift)
{
    LOG_DBG("Starting to shift %d bits", totalBitsToShift);
}

__attribute__((weak)) void PlatformImpl_TapShiftComplete(void *privateData)
{
    LOG_DBG("Shift complete");
}

int PlatformImpl_TapShiftGPIOClock(void *, int tdi, int tms)
{
#ifndef RJTAG_NO_DEFAULT_PLATFORM_IMPL
    gpio_pin_set_dt(&rjTck, 0);
    gpio_pin_set_dt(&rjTdi, tdi != 0);
    gpio_pin_set_dt(&rjTms, tms != 0);

    gpio_pin_set_dt(&rjTck, 1);

    return gpio_pin_get_dt(&rjTdo);
#else
    return 0;
#endif
}
```

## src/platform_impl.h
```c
#pragma once

#include <stdbool.h>
#include <stdint.h>
#include <zephyr/kernel.h>

#include <rjcore/rjcore.h>

#ifdef __cplusplus
extern "C"
{
#endif

struct RJCorePlatform *PlatformImpl_Init();

uint32_t PlatformImpl_CurrentUptime(void *);
bool PlatformImpl_SetSerialMode(void *privateData, enum RJCoreSerialMode mode);
bool PlatformImpl_SetPortMode(void *, enum RJCorePortMode mode);
bool PlatformImpl_SetFeature(void *, enum RJCoreFeature feature, int action);
void PlatformImpl_ReadVoltages(void *, uint16_t *values);
void PlatformImpl_NewTapShift(void *privateData, int totalBitsToShift);
void PlatformImpl_TapShiftComplete(void *privateData);
int PlatformImpl_TapShiftGPIOClock(void *, int tdi, int tms);
int PlatformImpl_TapShiftPacket(void *, const uint8_t *buffer, int bitsToShift);

void PlatformImpl_TransmitData(void *privateData, const void *buffer, size_t length);

#ifdef __cplusplus
}
#endif
```

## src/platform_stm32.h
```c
/*!
    \file platform_stm32.h
    \brief Examines the device tree to see which stm32 implementation (if any)
           should be used
*/

#pragma once

#include <zephyr/kernel.h>

#ifdef CONFIG_SOC_FAMILY_STM32
// Only knows how to deal with STM32s

#if DT_NODE_EXISTS(DT_NODELABEL(tck)) && DT_NODE_EXISTS(DT_NODELABEL(tms)) && DT_NODE_EXISTS(DT_NODELABEL(tdi)) &&     \
    DT_NODE_EXISTS(DT_NODELABEL(tdo))
// Device tree has the jtag pins hopefully assigned
#define RJTAG_STM32_USE_GPIO
#elif DT_NODE_EXISTS(DT_NODELABEL(rjtagtck)) && DT_NODE_EXISTS(DT_NODELABEL(rjtagsck))
// Device tree has both tck and sck defined - hopefully as timers
#define RJTAG_STM32_USE_TIMER_SPI
#define RJTAG_NO_DEFAULT_PLATFORM_IMPL
#endif

#endif
```

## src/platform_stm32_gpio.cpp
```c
#include <zephyr/kernel.h>

#include "platform_stm32.h"

#ifdef RJTAG_STM32_USE_GPIO

#pragma message("Using STM32 specific GPIO bit bashing")
#pragma message("TODO: Improve performance by loop unrolling")

#include <zephyr/drivers/gpio.h>
#include <zephyr/logging/log.h>
LOG_MODULE_DECLARE(rjtag, LOG_LEVEL_INF);

#include "platform_impl.h"

#include <cstddef>

namespace
{

constexpr struct gpio_dt_spec rjTck = GPIO_DT_SPEC_GET(DT_NODELABEL(tck), gpios);
constexpr struct gpio_dt_spec rjTms = GPIO_DT_SPEC_GET(DT_NODELABEL(tms), gpios);
constexpr struct gpio_dt_spec rjTdo = GPIO_DT_SPEC_GET(DT_NODELABEL(tdo), gpios);
constexpr struct gpio_dt_spec rjTdi = GPIO_DT_SPEC_GET(DT_NODELABEL(tdi), gpios);

// For an MVP, let's just assume that all pins are on the same port.  There's no technical
// reason that they have to be, but it does just simplify the code a lot.
static_assert(rjTck.port == rjTms.port, "All jtag pins must be on the same port (TCK/TMS differs)");
static_assert(rjTck.port == rjTdo.port, "All jtag pins must be on the same port (TCK/TDO differs)");
static_assert(rjTck.port == rjTdi.port, "All jtag pins must be on the same port (TCK/TDI differs)");

// By assuming all pins are on the same port, we can just do this once:
constexpr auto rjPortAddress = DT_REG_ADDR(DT_GPIO_CTLR(DT_NODELABEL(tck), gpios));

// STM32s only define GPIOx_BASE if they're present on the device.  Use the BASE address
// before they're cast to GPIO_TypeDef * as we can directly compare ints with DT_REG_ADDR.
constexpr int validPortAddresses[] = {
#ifdef GPIOA_BASE
    GPIOA_BASE,
#endif
#ifdef GPIOB_BASE
    GPIOB_BASE,
#endif
#ifdef GPIOC_BASE
    GPIOC_BASE,
#endif
#ifdef GPIOD_BASE
    GPIOD_BASE,
#endif
#ifdef GPIOE_BASE
    GPIOE_BASE,
#endif
#ifdef GPIOF_BASE
    GPIOF_BASE,
#endif
#ifdef GPIOG_BASE
    GPIOG_BASE,
#endif
#ifdef GPIOH_BASE
    GPIOH_BASE,
#endif
#ifdef GPIOI_BASE
    GPIOI_BASE,
#endif
#ifdef GPIOJ_BASE
    GPIOJ_BASE,
#endif
#ifdef GPIOK_BASE
    GPIOK_BASE,
#endif
};

template <int testAddress> constexpr bool ensureValidPortAddress()
{
    for (auto portAddress : validPortAddresses)
    {
        if (testAddress == portAddress)
        {
            return true;
        }
    }

    return false;
}

// Just a sanity check to make sure that rjPortAddress points to a known GPIOx_BASE address
static_assert(ensureValidPortAddress<rjPortAddress>(), "Unable to find GPIO controller address in port addresses");

} // namespace

extern "C"
{

bool PlatformImpl_HasShiftPacket()
{
    return true;
}

int PlatformImpl_TapShiftPacket(void *privateData, const uint8_t *buffer, int bitsToShift)
{
    auto gpioController = reinterpret_cast<GPIO_TypeDef *>(rjPortAddress);
    constexpr uint32_t tckSetMask = (1 << rjTck.pin);
    constexpr uint32_t tckClearMask = (0x1'0000 << rjTck.pin);
    constexpr uint32_t tdiSetMask = (1 << rjTdi.pin);
    constexpr uint32_t tdiClearMask = (0x1'0000 << rjTdi.pin);
    constexpr uint32_t tmsSetMask = (1 << rjTms.pin);
    constexpr uint32_t tmsClearMask = (0x1'0000 << rjTms.pin);
    constexpr uint32_t tdoInputMask = (1 << rjTdo.pin);

    constexpr int MaxTdoToBuffer = 64;
    char tdoBuffer[MaxTdoToBuffer];
    int tdoBufferIndex = 0;

    for (; bitsToShift > 0; bitsToShift -= 8)
    {
        uint8_t tdi = buffer[0];
        uint8_t tms = buffer[1];
        uint8_t tdo = 0;

        buffer += 2;

        const int totalBitsThisShift = (bitsToShift > 8) ? 8 : bitsToShift;

        for (int bitsLeft = totalBitsThisShift; bitsLeft > 0; --bitsLeft)
        {
            uint32_t bsrr = tckClearMask;
            bsrr |= ((tdi & 1) != 0) ? tdiSetMask : tdiClearMask;
            bsrr |= ((tms & 1) != 0) ? tmsSetMask : tmsClearMask;

            gpioController->BSRR = bsrr;

            // Use __NOP() because it's volatile, and hopefully prevents the tdi/tms/tdo
            // bit shifts from being hoisted out of here.  These shifts are used to
            // provide the delay for TCK, otherwise you might not get a proper TCK signal haha.
            __NOP();
            tdi >>= 1;
            tms >>= 1;
            tdo >>= 1;
            __NOP();

            gpioController->BSRR = tckSetMask;

            tdo |= ((gpioController->IDR & tdoInputMask) != 0) ? 0x80 : 0x00;
        }

        tdo >>= (8 - totalBitsThisShift);

        tdoBuffer[tdoBufferIndex] = tdo;
        ++tdoBufferIndex;
        if (tdoBufferIndex >= MaxTdoToBuffer)
        {
            PlatformImpl_TransmitData(privateData, tdoBuffer, tdoBufferIndex);
            tdoBufferIndex = 0;
        }
    }

    if (tdoBufferIndex > 0)
    {
        PlatformImpl_TransmitData(privateData, tdoBuffer, tdoBufferIndex);
    }

    return 0;
}
}

#endif
```

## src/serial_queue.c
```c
#include "serial_queue.h"

#include <string.h>
#include <zephyr/kernel.h>

#define TEST_POWER_OF_TWO(x) (((x) & ((x)-1)) == 0)

BUILD_ASSERT(TEST_POWER_OF_TWO(SERIAL_QUEUE_ELEMENTS), "Must have a power of two elements in serial queue");

#define SERIAL_QUEUE_INDEX_MASK ((SERIAL_QUEUE_ELEMENTS)-1)

#define EVENT_UNREAD_DATA_MASK 0x0001

void serial_queue_init(struct serial_queue *queue)
{
    atomic_set(&queue->write_index, 0);
    atomic_set(&queue->read_index, 0);

    k_event_init(&queue->event_unread_data);
}

static uint32_t serial_queue_space_used(const struct serial_queue *queue)
{
    uint32_t write_index = atomic_get(&queue->write_index);
    uint32_t read_index = atomic_get(&queue->read_index);

    return (write_index - read_index) & SERIAL_QUEUE_INDEX_MASK;
}

static uint32_t serial_queue_space_left(const struct serial_queue *queue)
{
    // Because read_index == write_index is considered as empty, we can never use the full
    // SERIAL_QUEUE_ELEMENTS number of bytes, hence the -1
    return SERIAL_QUEUE_ELEMENTS - 1 - serial_queue_space_used(queue);
}

static uint32_t serial_queue_wait_for_write(struct serial_queue *queue, k_timeout_t timeout)
{
    // Immediately clear first, and then check read/write index, because the write function
    // updates read/write index, and then sets the event (and thus this must do the opposite)
    k_event_clear(&queue->event_unread_data, EVENT_UNREAD_DATA_MASK);

    // Handles race condition where a write *just* happened immediately after this clear

    uint32_t bytes_in_queue = serial_queue_space_used(queue);

    if (bytes_in_queue == 0)
    {
        if (k_event_wait(&queue->event_unread_data, EVENT_UNREAD_DATA_MASK, false, timeout) != 0)
        {
            bytes_in_queue = serial_queue_space_used(queue);
        }
    }

    return bytes_in_queue;
}

static void serial_queue_read_to_buffer(struct serial_queue *queue, void *buffer, size_t length)
{
    uint32_t read_index = atomic_get(&queue->read_index);

    uint32_t maximum_contiguous_read = SERIAL_QUEUE_ELEMENTS - read_index;
    uint32_t initial_read = length;
    uint32_t leftover_read = 0;

    if (length > maximum_contiguous_read)
    {
        leftover_read = length - maximum_contiguous_read;
        initial_read = maximum_contiguous_read;
    }

    memcpy(buffer, queue->serial_buffer + read_index, initial_read);

    if (leftover_read > 0)
    {
        memcpy(((uint8_t *)buffer) + initial_read, queue->serial_buffer, leftover_read);
    }

    read_index += length;
    read_index &= SERIAL_QUEUE_INDEX_MASK;

    atomic_set(&queue->read_index, read_index);

    // Note: No need to manually compare read_index and write_index and set the event,
    // because that will be done at the start of the next call to serial_queue_read()
}

// Reads data from the serial queue, waiting a timeout for data to arrive if non already present
// Returns the amount of data read, or < 0 if an error occurred
int serial_queue_read(struct serial_queue *queue, void *buffer, size_t length, k_timeout_t timeout)
{
    // Maybe instead of checking bytes in queue, always just call serial_queue_wait_for_write()
    // and have it clear the event, regardless.  Because it doesn't wait for the event if it
    // finds that the index has changed.
    uint32_t bytes_in_queue = serial_queue_space_used(queue);

    if ((bytes_in_queue == 0) && !K_TIMEOUT_EQ(timeout, K_NO_WAIT))
    {
        bytes_in_queue = serial_queue_wait_for_write(queue, timeout);
    }

    if (bytes_in_queue != 0)
    {
        if (bytes_in_queue > length)
        {
            bytes_in_queue = length;
        }
        serial_queue_read_to_buffer(queue, buffer, bytes_in_queue);
    }

    return bytes_in_queue;
}

// Writes data to the queue, returning number of bytes written, or < 0 for an error
int serial_queue_write(struct serial_queue *queue, const void *buffer, size_t length)
{
    uint32_t space_left = serial_queue_space_left(queue);

    if (length > space_left)
    {
        length = space_left;
    }

    if (length == 0)
    {
        return 0;
    }

    uint32_t write_index = atomic_get(&queue->write_index);

    uint32_t maximum_contiguous_write = SERIAL_QUEUE_ELEMENTS - write_index;
    uint32_t initial_write = length;
    uint32_t leftover_write = 0;

    if (initial_write > maximum_contiguous_write)
    {
        leftover_write = length - maximum_contiguous_write;
        initial_write = maximum_contiguous_write;
    }

    memcpy(queue->serial_buffer + write_index, buffer, initial_write);

    if (leftover_write > 0)
    {
        memcpy(queue->serial_buffer, ((const uint8_t *)buffer) + initial_write, leftover_write);
    }

    write_index += length;
    write_index &= SERIAL_QUEUE_INDEX_MASK;

    atomic_set(&queue->write_index, write_index);

    k_event_set(&queue->event_unread_data, EVENT_UNREAD_DATA_MASK);

    return length;
}
```

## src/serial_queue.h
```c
/*!
    serialqueue.h - Simple ISR/thread safe serial data queue for Zephyr

    Restrictions:
        * Only allows single writer, single reader.
        * All queues are a fixed size
*/

#pragma once

#include <zephyr/kernel.h>

#include <stdint.h>

#ifdef __cplusplus
extern "C"
{
#endif

#define SERIAL_QUEUE_ELEMENTS 1024
#define MESSAGE_QUEUE_ELEMENTS 32

struct serial_queue
{
    uint8_t serial_buffer[SERIAL_QUEUE_ELEMENTS]; //!< Buffer for the serial data

    atomic_t write_index;
    atomic_t read_index;

    struct k_event event_unread_data; //!< Set when there's unread data
};

// Initialises a serial queue
void serial_queue_init(struct serial_queue *queue);

// Reads data from the serial queue, waiting a timeout for data to arrive if non already present
// Returns the amount of data read, or < 0 if an error occurred
int serial_queue_read(struct serial_queue *queue, void *buffer, size_t length, k_timeout_t timeout);

// Writes data to the queue, returning number of bytes written, or < 0 for an error
int serial_queue_write(struct serial_queue *queue, const void *buffer, size_t length);

#ifdef __cplusplus
}
#endif
```
